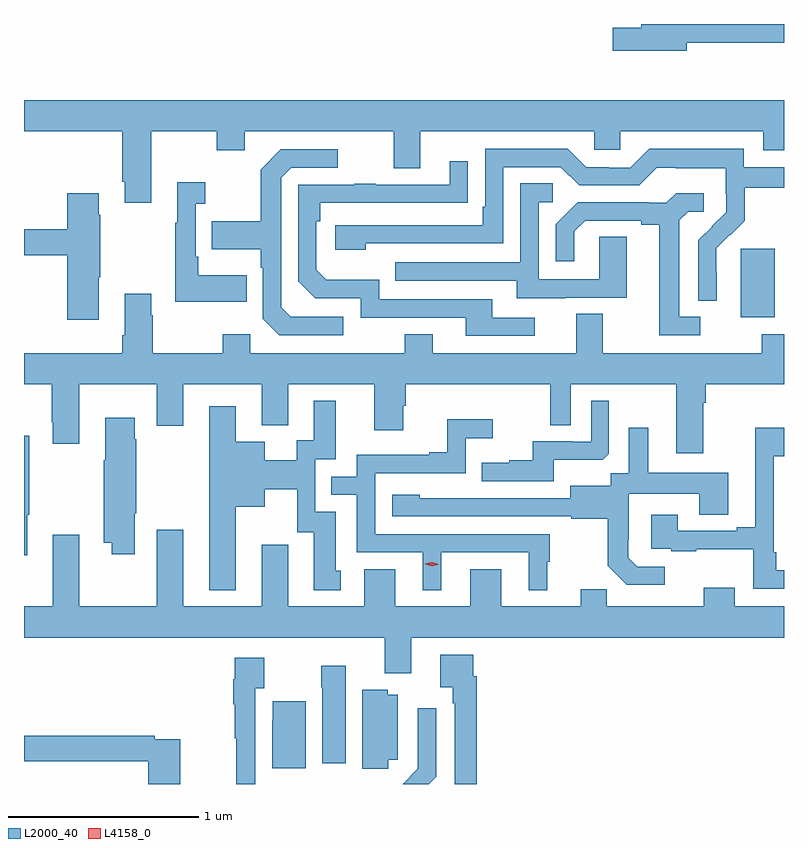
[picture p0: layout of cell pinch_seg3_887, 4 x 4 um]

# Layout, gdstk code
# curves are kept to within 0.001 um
import gdstk
lib = gdstk.Library(unit=1e-6, precision=1e-09)
def R(c, l, rs):  # rectangles x0, y0, x1, y1
    for r in rs: c.add(gdstk.rectangle(r[:2], r[2:], *l))
def P(c, l, *ps):  # polygons
    for p in ps: c.add(gdstk.Polygon(p, *l))
L2000_40 = (2000, 40)
L4158_0 = (4158, 0)

pinch_seg3_887 = lib.new_cell('pinch_seg3_887')
R(pinch_seg3_887, L2000_40, [(805.37,699.938,805.549,700.299)])
P(pinch_seg3_887, L2000_40, [(805.084,701.382),(805.597,701.382),(805.597,701.481),(804.845,701.481),(804.845,701.461),(804.696,701.461),(804.696,701.339),(805.084,701.339)],
  [(802.267,700.916),(802.612,700.916),(802.612,700.817),(802.759,700.817),(802.759,700.916),(803.543,700.916),(803.543,700.722),(803.683,700.722),(803.683,700.916),(804.597,700.916),(804.597,700.818),(804.735,700.818),(804.735,700.916),(805.487,700.916),(805.487,700.817),(805.597,700.817),(805.597,701.08),(801.597,701.08),(801.597,700.916),(802.115,700.916),(802.115,700.651),(802.127,700.651),(802.127,700.539),(802.267,700.539)],
  [(805.242,700.178),(805.241,700.301),(805.311,700.371),(805.314,700.368),(805.391,700.445),(805.391,700.62),(805.597,700.62),(805.597,700.728),(805.386,700.728),(805.386,700.825),(804.889,700.825),(804.789,700.725),(804.674,700.725),(804.674,700.728),(804.555,700.728),(804.459,700.824),(804.024,700.824),(804.024,700.519),(804.011,700.519),(804.011,700.422),(803.235,700.422),(803.235,700.292),(803.396,700.292),(803.396,700.326),(804.12,700.326),(804.12,700.728),(804.423,700.728),(804.519,700.632),(804.834,700.632),(804.927,700.725),(805.027,700.725),(805.027,700.721),(805.29,700.721),(805.29,700.587),(805.292,700.587),(805.292,700.49),(805.146,700.342),(805.146,700.024),(805.242,700.024)],
  [(803.278,699.939),(803.001,699.939),(802.95,699.99),(802.95,700.671),(803.004,700.725),(803.248,700.725),(803.248,700.821),(802.947,700.821),(802.842,700.715),(802.842,700.443),(802.585,700.443),(802.585,700.295),(802.842,700.295),(802.842,700.199),(802.854,700.199),(802.854,699.93),(802.941,699.843),(803.278,699.843)],
  [(804.286,699.936),(804.061,699.936),(804.061,700.032),(803.466,700.032),(803.466,700.135),(803.189,700.135),(803.136,700.188),(803.136,700.442),(803.156,700.442),(803.156,700.539),(803.933,700.54),(803.933,700.759),(803.837,700.759),(803.837,700.635),(803.447,700.635),(803.447,700.64),(803.335,700.64),(803.335,700.635),(803.04,700.635),(803.04,700.128),(803.13,700.038),(803.37,700.038),(803.37,699.936),(803.921,699.936),(803.921,699.84),(804.286,699.84)],
  [(802.769,700.159),(802.513,700.159),(802.513,700.255),(802.5,700.255),(802.5,700.535),(802.552,700.535),(802.552,700.648),(802.403,700.648),(802.403,700.435),(802.392,700.435),(802.392,700.019),(802.769,700.019)],
  [(804.445,700.041),(804.769,700.041),(804.769,700.361),(804.624,700.361),(804.624,700.137),(804.306,700.137),(804.306,700.542),(804.379,700.542),(804.379,700.643),(804.21,700.643),(804.21,700.227),(803.551,700.227),(803.551,700.131),(804.191,700.131),(804.191,700.037),(804.445,700.037)],
  [(801.991,700.147),(801.999,700.147),(801.999,700.478),(801.991,700.478),(801.991,700.591),(801.824,700.591),(801.824,700.4),(801.597,700.4),(801.597,700.264),(801.824,700.264),(801.824,699.924),(801.991,699.924)],
  [(805.156,699.939),(805.045,699.939),(805.045,700.447),(805.092,700.494),(805.174,700.494),(805.174,700.591),(805.03,700.591),(804.978,700.539),(804.884,700.539),(804.884,700.542),(804.512,700.542),(804.396,700.426),(804.396,700.233),(804.493,700.233),(804.493,700.389),(804.55,700.446),(804.845,700.446),(804.845,700.424),(804.941,700.424),(804.941,699.843),(805.156,699.843)],
  [(805.171,699.488),(805.184,699.488),(805.184,699.584),(805.597,699.584),(805.597,699.847),(805.48,699.847),(805.48,699.748),(804.643,699.748),(804.643,699.956),(804.503,699.956),(804.503,699.748),(803.749,699.748),(803.749,699.847),(803.602,699.847),(803.602,699.748),(802.788,699.748),(802.788,699.847),(802.642,699.847),(802.642,699.748),(802.275,699.748),(802.275,699.947),(802.267,699.947),(802.267,700.06),(802.127,700.06),(802.127,699.844),(802.115,699.844),(802.115,699.748),(801.597,699.748),(801.597,699.584),(801.742,699.584),(801.742,699.385),(801.749,699.385),(801.749,699.273),(801.889,699.273),(801.889,699.584),(802.295,699.584),(802.295,699.366),(802.435,699.366),(802.435,699.584),(802.847,699.584),(802.847,699.368),(802.987,699.368),(802.987,699.584),(803.441,699.584),(803.441,699.342),(803.593,699.342),(803.593,699.471),(803.606,699.471),(803.606,699.584),(804.366,699.584),(804.366,699.37),(804.474,699.37),(804.474,699.584),(805.031,699.584),(805.031,699.222),(805.171,699.222)],
  [(802.711,698.939),(802.864,698.939),(802.864,699.032),(803.034,699.032),(803.034,698.805),(803.123,698.805),(803.123,698.502),(803.263,698.502),(803.263,698.604),(803.239,698.604),(803.239,698.913),(803.13,698.913),(803.13,699.189),(803.239,699.189),(803.239,699.499),(803.123,699.499),(803.123,699.29),(803.033,699.29),(803.033,699.184),(802.864,699.184),(802.864,699.283),(802.711,699.283),(802.711,699.469),(802.571,699.469),(802.571,698.501),(802.711,698.501)],
  [(804.385,699.188),(804.643,699.188),(804.675,699.219),(804.675,699.499),(804.582,699.499),(804.582,699.282),(804.482,699.282),(804.482,699.285),(804.275,699.285),(804.275,699.184),(804.151,699.184),(804.151,699.172),(804.007,699.172),(804.007,699.075),(804.385,699.075)],
  [(802.18,698.905),(802.188,698.905),(802.188,699.296),(802.18,699.296),(802.18,699.409),(802.025,699.409),(802.025,699.185),(802.018,699.185),(802.018,698.75),(802.058,698.75),(802.058,698.691),(802.18,698.691)],
  [(803.794,698.7),(804.254,698.7),(804.254,698.501),(804.352,698.501),(804.352,698.652),(804.364,698.652),(804.364,698.796),(803.445,698.796),(803.445,699.117),(803.922,699.117),(803.922,699.302),(804.064,699.302),(804.064,699.401),(803.824,699.401),(803.824,699.226),(803.729,699.226),(803.729,699.213),(803.349,699.213),(803.349,699.099),(803.215,699.099),(803.215,699.003),(803.349,699.003),(803.349,698.7),(803.696,698.7),(803.696,698.501),(803.794,698.501)],
  [(805.597,698.605),(805.555,698.605),(805.555,698.701),(805.542,698.701),(805.542,699.206),(805.597,699.206),(805.597,699.355),(805.445,699.355),(805.445,698.833),(805.349,698.833),(805.349,698.814),(805.039,698.814),(805.039,698.899),(804.899,698.899),(804.899,698.718),(805.003,698.718),(805.003,698.706),(805.135,698.706),(805.135,698.717),(805.434,698.717),(805.434,698.508),(805.597,698.508)],
  [(804.97,698.625),(804.825,698.625),(804.778,698.672),(804.778,698.767),(804.78,698.767),(804.78,699.008),(805.151,699.008),(805.151,698.899),(805.303,698.899),(805.303,699.118),(804.883,699.118),(804.883,699.355),(804.779,699.355),(804.779,699.116),(804.684,699.116),(804.684,699.052),(804.473,699.052),(804.473,698.985),(803.679,698.986),(803.679,699.004),(803.535,699.004),(803.535,698.889),(804.477,698.889),(804.477,698.877),(804.669,698.877),(804.669,698.631),(804.769,698.531),(804.97,698.531)],
  [(801.613,698.897),(801.625,698.897),(801.625,699.313),(801.597,699.313),(801.597,698.685),(801.613,698.685)],
  [(803.635,698.252),(805.597,698.252),(805.597,698.416),(805.339,698.416),(805.339,698.515),(805.175,698.515),(805.175,698.416),(804.665,698.416),(804.665,698.507),(804.527,698.507),(804.527,698.416),(804.109,698.416),(804.109,698.611),(803.945,698.611),(803.945,698.416),(803.551,698.416),(803.551,698.611),(803.387,698.611),(803.387,698.416),(802.987,698.416),(802.987,698.74),(802.847,698.74),(802.847,698.416),(802.435,698.416),(802.435,698.818),(802.295,698.818),(802.295,698.416),(801.889,698.416),(801.889,698.794),(801.749,698.794),(801.749,698.416),(801.597,698.416),(801.597,698.252),(803.495,698.252),(803.495,698.063),(803.635,698.063)],
  [(803.981,698.048),(803.961,698.048),(803.961,698.161),(803.787,698.161),(803.787,697.991),(803.853,697.991),(803.853,697.907),(803.865,697.907),(803.865,697.481),(803.981,697.481)],
  [(802.815,697.986),(802.861,697.986),(802.861,698.146),(802.707,698.146),(802.707,698.033),(802.699,698.033),(802.699,697.901),(802.707,697.901),(802.707,697.721),(802.714,697.721),(802.714,697.481),(802.815,697.481)],
  [(803.29,698.104),(803.161,698.104),(803.161,697.991),(803.168,697.991),(803.168,697.59),(803.29,697.59)],
  [(803.514,697.608),(803.563,697.608),(803.563,697.951),(803.511,697.951),(803.511,697.978),(803.378,697.978),(803.378,697.561),(803.514,697.561)],
  [(803.08,697.917),(802.905,697.917),(802.905,697.814),(802.904,697.814),(802.904,697.565),(803.08,697.565)],
  [(803.766,697.52),(803.766,697.879),(803.67,697.879),(803.67,697.56),(803.591,697.481),(803.727,697.481)],
  [(802.42,697.716),(802.286,697.716),(802.286,697.736),(801.597,697.736),(801.597,697.6),(802.25,697.6),(802.25,697.481),(802.42,697.481)])
P(pinch_seg3_887, L4158_0, [(803.745,698.628),(803.709,698.638),(803.709,698.638),(803.709,698.639),(803.745,698.648),(803.781,698.638),(803.781,698.638),(803.781,698.638)])

lib.write_gds('pinch_seg3_887.gds')
